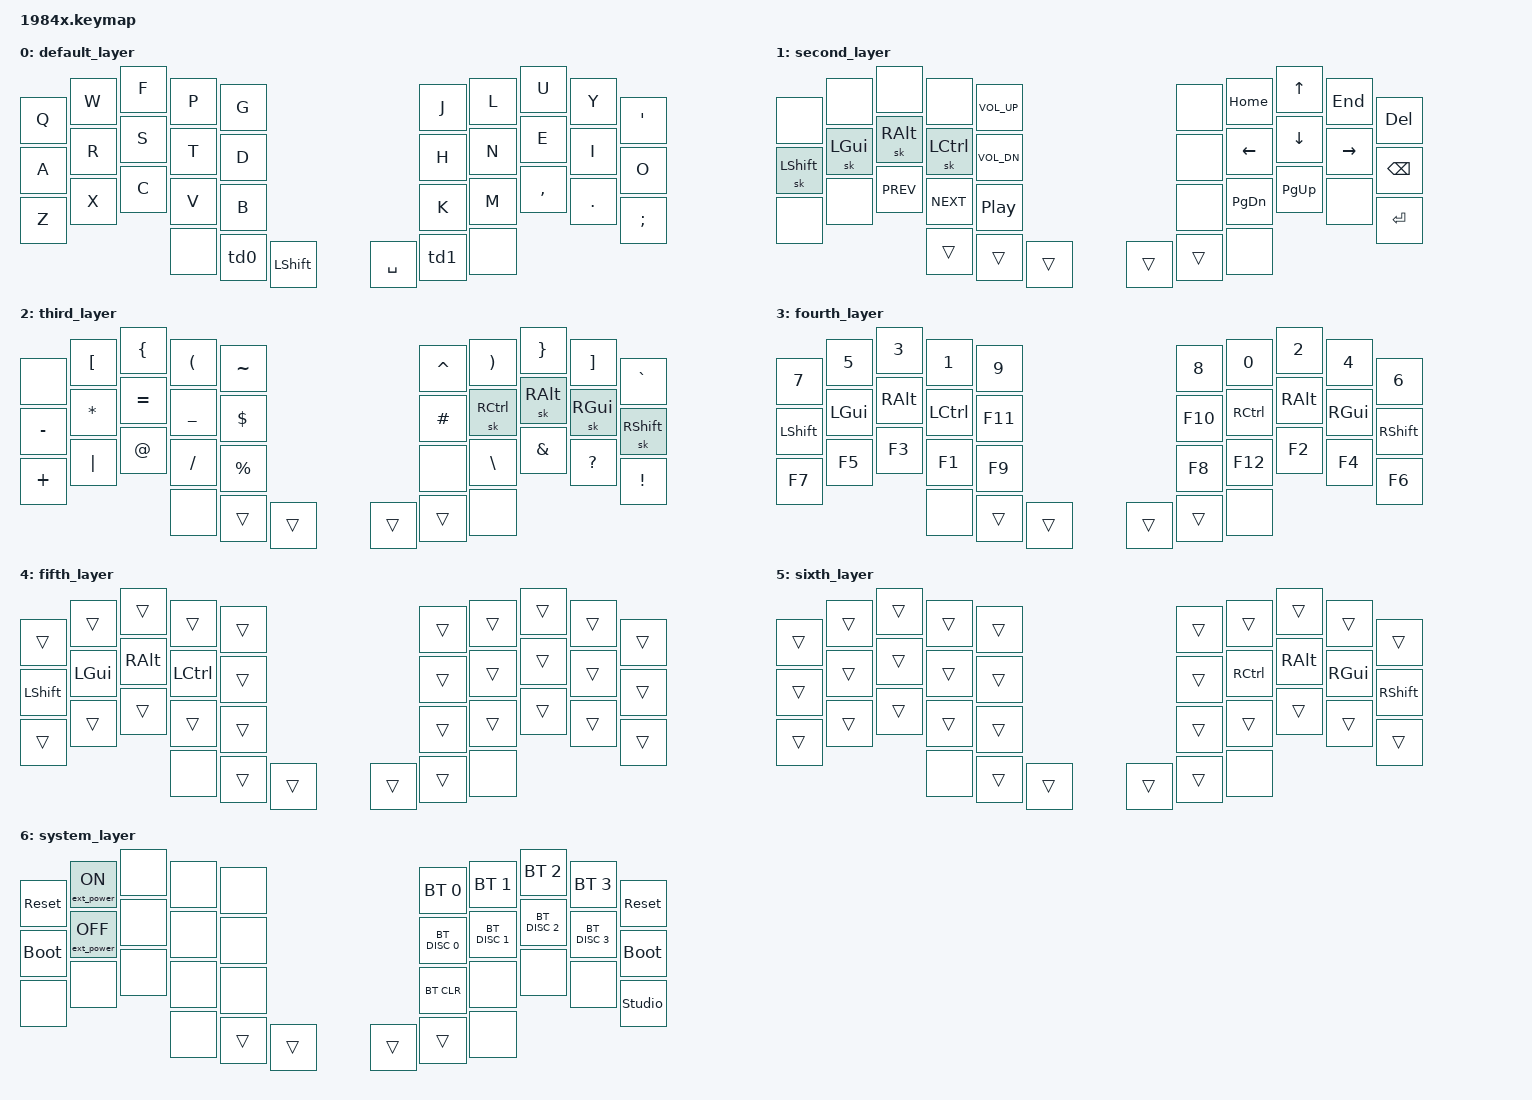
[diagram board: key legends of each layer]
/*
 * Copyright (c) 2020 The ZMK Contributors
 *
 * SPDX-License-Identifier: MIT
 */

#include <behaviors.dtsi>
#include <dt-bindings/zmk/keys.h>
#include <dt-bindings/zmk/bt.h>
#include <dt-bindings/zmk/ext_power.h>

#include <dt-bindings/zmk/mouse.h>

/*
#include <behaviors/mouse_keys.dtsi>
#include <behaviors/mouse_move.dtsi>

#include <behaviors/behavior_pim447.dtsi>
#include <dt-bindings/behavior_pim447.h>
*/

#define DEFAULT 0
#define SECOND 	1
#define THIRD 	2
#define FOURTH 	3
#define FIFTH 	4
#define SIXTH 	5
#define SYSTEM 	6
/*#define MOUSE	7*/

#define UNLCK &studio_unlock


#define COMBO(NAME, BINDINGS, KEYPOS, LAYERS) \
  combo_##NAME { \
    timeout-ms = <50>; \
    bindings = <BINDINGS>; \
    key-positions = <KEYPOS>; \
    layers = <LAYERS>; \
  };


/ {
	behaviors {
		hm: homerow_mods {
			compatible = "zmk,behavior-hold-tap";
			#binding-cells = <2>;
			tapping-term-ms = <250>;
			quick-tap-ms = <200>;
			flavor = "tap-preferred";
			bindings = <&kp>, <&kp>;
		};

        td_mt: tap_dance_mod_tap {
            compatible = "zmk,behavior-hold-tap";
            #binding-cells = <2>;
            tapping-term-ms = <200>;
            bindings = <&mo>, <&to>;
        };

		sk: sticky_key {
			compatible = "zmk,behavior-sticky-key";
			#binding-cells = <1>;
			bindings = <&kp>;
			release-after-ms = <1000>;
			ignore-modifiers;
		};
/*
        m_max_speed: pim447_mouse_max_speed {
            compatible = "zmk,behavior-mod-morph";
            #binding-cells = <0>;
            bindings = <&pim447 PIM447_MOUSE_INC_MAX_SPEED>, <&pim447 PIM447_MOUSE_DEC_MAX_SPEED>;
            mods = <(MOD_LSFT)>;
        };

        s_max_speed: pim447_scroll_max_speed {
            compatible = "zmk,behavior-mod-morph";
            #binding-cells = <0>;
            bindings = <&pim447 PIM447_SCROLL_INC_MAX_SPEED>, <&pim447 PIM447_SCROLL_DEC_MAX_SPEED>;
            mods = <(MOD_LSFT)>;
        };

        m_max_time: pim447_mouse_max_time {
            compatible = "zmk,behavior-mod-morph";
            #binding-cells = <0>;
            bindings = <&pim447 PIM447_MOUSE_INC_MAX_TIME>, <&pim447 PIM447_MOUSE_DEC_MAX_TIME>;
            mods = <(MOD_LSFT)>;
        };

        s_max_time: pim447_scroll_max_time {
            compatible = "zmk,behavior-mod-morph";
            #binding-cells = <0>;
            bindings = <&pim447 PIM447_SCROLL_INC_MAX_TIME>, <&pim447 PIM447_SCROLL_DEC_MAX_TIME>;
            mods = <(MOD_LSFT)>;
        };

        m_smooth: pim447_mouse_smoothing_factor {
            compatible = "zmk,behavior-mod-morph";
            #binding-cells = <0>;
            bindings = <&pim447 PIM447_MOUSE_INC_SMOOTHING_FACTOR>, <&pim447 PIM447_MOUSE_DEC_SMOOTHING_FACTOR>;
            mods = <(MOD_LSFT)>;
        };

        s_smooth: pim447_scroll_smoothing_factor {
            compatible = "zmk,behavior-mod-morph";
            #binding-cells = <0>;
            bindings = <&pim447 PIM447_SCROLL_INC_SMOOTHING_FACTOR>, <&pim447 PIM447_SCROLL_DEC_SMOOTHING_FACTOR>;
            mods = <(MOD_LSFT)>;
        };

		pim447_hue: pim447_inc_hue_increment_factor {
			compatible = "zmk,behavior-mod-morph";
			#binding-cells = <0>;
			bindings = <&pim447 PIM447_INC_HUE_INCREMENT_FACTOR>, <&pim447 PIM447_DEC_HUE_INCREMENT_FACTOR>;
			mods = <(MOD_LSFT)>;
		};*/

		td0: tap_dance_0 {
            compatible = "zmk,behavior-tap-dance";
            #binding-cells = <0>;
            tapping-term-ms = <200>;
            bindings = <&mo SECOND>, <&mo FIFTH>;
        };

		td1: tap_dance_1 {
            compatible = "zmk,behavior-tap-dance";
            #binding-cells = <0>;
            tapping-term-ms = <200>;
            bindings = <&mo THIRD>, <&mo SIXTH>;
        };
	};

	combos {
		compatible = "zmk,combos";

		//  ╭─────────────────────╮          ╭─────────────────────╮
		//  │   0   1   2   3   4 │          │  5   6   7   8  10  │
		//  │  11  12  13  14  15 │          │ 15  16  17  18  19  │
		//  │  20  21  22  23  24 ╰───╮  ╭───╯ 25  26  27  28  29  │
		//  ╰────────────╮ 30  31  32 │  │ 33  34  35 ╭────────────╯
		//               ╰────────────╯  ╰────────────╯

		COMBO(ESC, &kp ESC, 1 2, DEFAULT)
		COMBO(ENTER, &kp ENTER, 17 18, DEFAULT)
		COMBO(BSPC, &kp BSPC, 7 8, DEFAULT)
		COMBO(TAB, &kp TAB, 12 13, DEFAULT)
		COMBO(DEL, &kp DEL, 27 28, DEFAULT)
		COMBO(SYSTEM, &mo SYSTEM, 32 33, DEFAULT)
		COMBO(FOURTH, &mo FOURTH, 31 34, DEFAULT)
		COMBO(BOOTLOADER_LEFT, &bootloader, 0 11 20, DEFAULT)
		COMBO(BOOTLOADER_RIGHT, &bootloader, 10 19 29, DEFAULT)
	};

	
	keymap {
		compatible = "zmk,keymap";

		default_layer {
			bindings = <
				&kp Q			&kp W			&kp F           &kp P           &kp G                    &kp J           	&kp L      			&kp U            &kp Y			&kp SQT
				&kp A			&kp R			&kp S      		&kp T      	  	&kp D                    &kp H            	&kp N           	&kp E     		 &kp I			&kp O
				&kp Z			&kp X			&kp C           &kp V           &kp B               	 &kp K       		&kp M          		&kp COMMA        &kp DOT		&kp SEMI
												&none 		 	&td0	     	&kp LSHFT			 	 &kp SPACE	 		&td1		      	&none 	
			>;
		};

		second_layer {
			bindings = <
				&none			&none			&none     		&none       	&kp C_VOL_UP            &none          	&kp HOME        &kp UP           &kp END		&kp DEL
				&sk LSHFT		&sk LGUI		&sk RALT        &sk LCTRL       &kp C_VOL_DN            &none           &kp LEFT        &kp DOWN	     &kp RIGHT		&kp BSPC
				&none			&none			&kp C_PREV      &kp C_NEXT      &kp C_PP               	&none       	&kp PG_DN       &kp PG_UP	     &none			&kp ENTER
												&trans		 	&trans       	&trans			        &trans	  		&trans	        &none
			>;
		};

		third_layer {
			bindings = <
				&none			&kp LBKT		&kp LBRC         &kp LPAR       &kp TILDE                   &kp CARET       &kp RPAR    	&kp RBRC     	 &kp RBKT			&kp GRAVE
				&kp MINUS		&kp STAR		&kp EQUAL        &kp UNDER      &kp DLLR                    &kp HASH        &sk RCTRL     	&sk RALT    	 &sk RGUI			&sk RSHFT
				&kp PLUS		&kp PIPE		&kp AT           &kp FSLH       &kp PRCNT               	&none       	&kp BSLH	    &kp AMPS	     &kp QMARK			&kp EXCL
												&none	   		 &trans        	&trans		          	 	&trans		    &trans       	&none
			>;
		};

		fourth_layer {
			bindings = <
				&kp N7			&kp N5			&kp N3         	&kp N1       	&kp N9                   	&kp N8      	&kp N0  	  	&kp N2    	 	 &kp N4				&kp N6
				&kp LSHFT		&kp LGUI		&kp RALT        &kp LCTRL       &kp F11                     &kp F10         &kp RCTRL     	&kp RALT    	 &kp RGUI			&kp RSHFT
				&kp F7			&kp F5			&kp F3          &kp F1        	&kp F9               		&kp F8       	&kp F12		    &kp F2	    	 &kp F4				&kp F6
												&none	   		&trans        	&trans		          	 	&trans		    &trans       	&none
			>;
		};

		fifth_layer {
			bindings = <
				&trans				&trans				&trans            &trans          &trans            	&trans		   	&trans		     &trans		    &trans		&trans
				&kp LSHFT			&kp LGUI 			&kp RALT          &kp LCTRL       &trans                &trans		    &trans		     &trans	 	  	&trans		&trans
				&trans				&trans				&trans            &trans          &trans                &trans	        &trans           &trans   		&trans		&trans
														&none	   		  &trans   		  &trans	     	    &trans	        &trans       	 &none
			>;
		};

		sixth_layer {
			bindings = <
				&trans				&trans				&trans            &trans          &trans            	&trans		   	&trans		     &trans		    &trans		&trans
				&trans				&trans 				&trans            &trans          &trans                &trans		    &kp RCTRL		 &kp RALT	 	&kp RGUI	&kp RSHFT
				&trans				&trans				&trans            &trans          &trans                &trans	        &trans           &trans   		&trans		&trans
														&none	   		  &trans   		  &trans	     	    &trans	        &trans       	 &none
			>;
		};

		system_layer {
			bindings = <
				&sys_reset			&ext_power EP_ON	&none            &none &none  &bt BT_SEL 0   	&bt BT_SEL 1     &bt BT_SEL 2     &bt BT_SEL 3		&sys_reset
				&bootloader			&ext_power EP_OFF	&none            &none &none &bt BT_DISC 0    &bt BT_DISC 1    &bt BT_DISC 2    &bt BT_DISC 3		&bootloader
				&none				&none				&none            &none            &none &bt BT_CLR       &none            &none        	  &none				&studio_unlock
														&none	   		 &trans   		  &trans	     	   &trans	        &trans       	 &none
			>;
		};
/*
		mouse_layer {
			bindings = <
				&m_max_speed		&s_max_speed		&pim447_hue    				  &trans       					    &trans		       	&trans		   	&trans		     &trans		    &trans		&trans
				&m_max_time			&s_max_time			&trans         				  &trans         					&trans              &trans		    &mkp LCLK	     &mkp MCLK 	  	&mkp RCLK	&trans
				&m_smooth			&s_smooth			&trans         				  &trans							&trans              &trans	        &trans           &trans   		&trans		&trans
														&trans						  &pim447 PIM447_TOGGLE_MODE        &kp LSHFT	   	    &trans	        &trans           &trans
			>;
		};

		empty_layer {
			bindings = <
				&none				&none				&none            &none            &none            	   &none		   	&none		     &none		    &none		&none
				&none				&none 				&none            &none            &none                &none		    &none		     &none	 	  	&none		&none
				&none				&none				&none            &none            &none                &none	        &none            &none   		&none		&none
														&none	   		 &none   		  &none	     	       &none	        &none       	 &none
			>;
		}; */
	};
};

